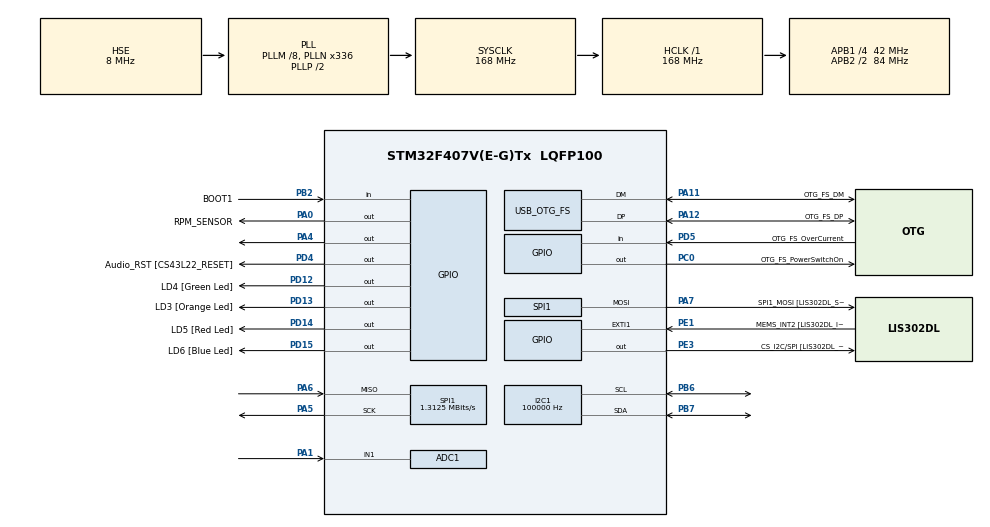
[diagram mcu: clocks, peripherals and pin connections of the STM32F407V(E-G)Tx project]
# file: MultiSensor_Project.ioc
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ADC1.Channel-2\#ChannelRegularConversion=ADC_CHANNEL_1
ADC1.ContinuousConvMode=ENABLE
ADC1.NbrOfConversionFlag=1
ADC1.Rank-2\#ChannelRegularConversion=1
ADC1.SamplingTime-2\#ChannelRegularConversion=ADC_SAMPLETIME_480CYCLES
ADC1.ScanConvMode=ENABLE
ADC1.master=1
I2C1.ClockSpeed=100000
I2C1.I2C_Mode=I2C_Fast
Mcu.Family=STM32F4
Mcu.Name=STM32F407V(E-G)Tx
Mcu.Package=LQFP100
NVIC.OTG_FS_IRQn=true\:0\:0\:false\:false\:true\:true\:true\:true
NVIC.PriorityGroup=NVIC_PRIORITYGROUP_0
NVIC.TIM2_IRQn=true\:0\:0\:false\:false\:true\:true\:true\:true
PA0-WKUP.GPIO_Label=RPM_SENSOR
PA0-WKUP.GPIO_ModeDefaultOutputPP=GPIO_MODE_OUTPUT_PP
PA0-WKUP.GPIO_PuPd=GPIO_PULLUP
PA0-WKUP.GPIO_Speed=GPIO_SPEED_FREQ_VERY_HIGH
PA0-WKUP.PinState=GPIO_PIN_RESET
PA0-WKUP.Signal=GPIO_Output
PA1.Signal=ADCx_IN1
PA10.GPIO_Label=OTG_FS_ID
PA10.GPIO_Mode=GPIO_MODE_AF_PP
PA10.GPIO_PuPd=GPIO_NOPULL
PA10.GPIO_Speed=GPIO_SPEED_FREQ_LOW
PA10.Signal=USB_OTG_FS_ID
PA11.GPIO_Label=OTG_FS_DM
PA11.GPIO_Mode=GPIO_MODE_AF_PP
PA11.GPIO_PuPd=GPIO_NOPULL
PA11.GPIO_Speed=GPIO_SPEED_FREQ_LOW
PA11.Mode=Device_Only
PA11.Signal=USB_OTG_FS_DM
PA12.GPIO_Label=OTG_FS_DP
PA12.GPIO_Mode=GPIO_MODE_AF_PP
PA12.GPIO_PuPd=GPIO_NOPULL
PA12.GPIO_Speed=GPIO_SPEED_FREQ_LOW
PA12.Mode=Device_Only
PA12.Signal=USB_OTG_FS_DP
PA13.GPIO_Label=SWDIO
PA13.Mode=Serial_Wire
PA13.Signal=SYS_JTMS-SWDIO
PA14.GPIO_Label=SWCLK
PA14.Mode=Serial_Wire
PA14.Signal=SYS_JTCK-SWCLK
PA4.Signal=GPIO_Output
PA5.Mode=Full_Duplex_Master
PA5.Signal=SPI1_SCK
PA6.Mode=Full_Duplex_Master
PA6.Signal=SPI1_MISO
PA7.GPIO_Label=SPI1_MOSI [LIS302DL_SDA/SDI/SDO]
PA7.GPIO_Mode=GPIO_MODE_AF_PP
PA7.GPIO_PuPd=GPIO_NOPULL
PA7.GPIO_Speed=GPIO_SPEED_FREQ_LOW
PA7.Mode=Full_Duplex_Master
PA7.Signal=SPI1_MOSI
PA9.GPIO_Label=VBUS_FS
PA9.GPIO_Mode=GPIO_MODE_INPUT
PA9.GPIO_PuPd=GPIO_NOPULL
PA9.Signal=USB_OTG_FS_VBUS
PB10.GPIO_Label=CLK_IN [MP45DT02_CLK]
PB10.GPIO_Mode=GPIO_MODE_AF_PP
PB10.GPIO_PuPd=GPIO_NOPULL
PB10.GPIO_Speed=GPIO_SPEED_FREQ_LOW
PB10.Signal=I2S2_CK
PB2.GPIO_Label=BOOT1
PB2.GPIO_Mode=GPIO_MODE_INPUT
PB2.GPIO_PuPd=GPIO_NOPULL
PB2.Signal=GPIO_Input
PB3.GPIO_Label=SWO
PB3.Signal=SYS_JTDO-SWO
PB6.Mode=I2C
PB6.Signal=I2C1_SCL
PB7.Mode=I2C
PB7.Signal=I2C1_SDA
PC0.GPIO_Label=OTG_FS_PowerSwitchOn
PC0.GPIO_PuPd=GPIO_NOPULL
PC0.GPIO_Speed=GPIO_SPEED_FREQ_LOW
PC0.PinState=GPIO_PIN_SET
PC0.Signal=GPIO_Output
PC10.GPIO_Label=I2S3_SCK [CS43L22_SCLK]
PC10.GPIO_Mode=GPIO_MODE_AF_PP
PC10.GPIO_PuPd=GPIO_NOPULL
PC10.GPIO_Speed=GPIO_SPEED_FREQ_LOW
PC10.Signal=I2S3_CK
PC12.GPIO_Label=I2S3_SD [CS43L22_SDIN]
PC12.GPIO_Mode=GPIO_MODE_AF_PP
PC12.GPIO_PuPd=GPIO_NOPULL
PC12.GPIO_Speed=GPIO_SPEED_FREQ_LOW
PC12.Signal=I2S3_SD
PC14-OSC32_IN.GPIO_Label=PC14-OSC32_IN
PC14-OSC32_IN.Mode=LSE-External-Oscillator
PC14-OSC32_IN.Signal=RCC_OSC32_IN
PC15-OSC32_OUT.GPIO_Label=PC15-OSC32_OUT
PC15-OSC32_OUT.Mode=LSE-External-Oscillator
PC15-OSC32_OUT.Signal=RCC_OSC32_OUT
PC3.GPIO_Label=PDM_OUT [MP45DT02_DOUT]
PC3.GPIO_Mode=GPIO_MODE_AF_PP
PC3.GPIO_PuPd=GPIO_NOPULL
PC3.GPIO_Speed=GPIO_SPEED_FREQ_LOW
PC3.Signal=I2S2_SD
PC7.GPIO_Label=I2S3_MCK [CS43L22_MCLK]
PC7.GPIO_Mode=GPIO_MODE_AF_PP
PC7.GPIO_PuPd=GPIO_NOPULL
PC7.GPIO_Speed=GPIO_SPEED_FREQ_LOW
PC7.Signal=I2S3_MCK
PD12.GPIO_Label=LD4 [Green Led]
PD12.GPIO_PuPd=GPIO_NOPULL
PD12.GPIO_Speed=GPIO_SPEED_FREQ_LOW
PD12.Signal=GPIO_Output
PD13.GPIO_Label=LD3 [Orange Led]
PD13.GPIO_PuPd=GPIO_NOPULL
PD13.GPIO_Speed=GPIO_SPEED_FREQ_LOW
PD13.Signal=GPIO_Output
PD14.GPIO_Label=LD5 [Red Led]
PD14.GPIO_PuPd=GPIO_NOPULL
PD14.GPIO_Speed=GPIO_SPEED_FREQ_LOW
PD14.Signal=GPIO_Output
PD15.GPIO_Label=LD6 [Blue Led]
PD15.GPIO_PuPd=GPIO_NOPULL
PD15.GPIO_Speed=GPIO_SPEED_FREQ_LOW
PD15.Signal=GPIO_Output
PD4.GPIO_Label=Audio_RST [CS43L22_RESET]
PD4.GPIO_PuPd=GPIO_NOPULL
PD4.GPIO_Speed=GPIO_SPEED_FREQ_LOW
PD4.Signal=GPIO_Output
PD5.GPIO_Label=OTG_FS_OverCurrent
PD5.GPIO_Mode=GPIO_MODE_INPUT
PD5.GPIO_PuPd=GPIO_NOPULL
PD5.Signal=GPIO_Input
PE1.GPIO_Label=MEMS_INT2 [LIS302DL_INT2]
PE1.GPIO_ModeDefaultEXTI=GPIO_MODE_EVT_RISING
PE1.GPIO_PuPd=GPIO_NOPULL
PE1.Signal=GPXTI1
PE3.GPIO_Label=CS_I2C/SPI [LIS302DL_CS_I2C/SPI]
PE3.GPIO_PuPd=GPIO_NOPULL
PE3.GPIO_Speed=GPIO_SPEED_FREQ_LOW
PE3.Signal=GPIO_Output
PH0-OSC_IN.GPIO_Label=PH0-OSC_IN
PH0-OSC_IN.Mode=HSE-External-Oscillator
PH0-OSC_IN.Signal=RCC_OSC_IN
PH1-OSC_OUT.GPIO_Label=PH1-OSC_OUT
PH1-OSC_OUT.Mode=HSE-External-Oscillator
PH1-OSC_OUT.Signal=RCC_OSC_OUT
ProjectManager.HeapSize=0x200
ProjectManager.StackSize=0x400
ProjectManager.TargetToolchain=STM32CubeIDE
RCC.48MHZClocksFreq_Value=48000000
RCC.AHBFreq_Value=168000000
RCC.APB1CLKDivider=RCC_HCLK_DIV4
RCC.APB1Freq_Value=42000000
RCC.APB1TimFreq_Value=84000000
RCC.APB2CLKDivider=RCC_HCLK_DIV2
RCC.APB2Freq_Value=84000000
RCC.APB2TimFreq_Value=168000000
RCC.CortexFreq_Value=168000000
RCC.HCLKFreq_Value=168000000
RCC.HSE_VALUE=8000000
RCC.HSI_VALUE=16000000
RCC.PLLM=8
RCC.PLLN=336
RCC.PLLQ=7
RCC.SYSCLKFreq_VALUE=168000000
RCC.SYSCLKSource=RCC_SYSCLKSOURCE_PLLCLK
RCC.VCOOutputFreq_Value=336000000
SH.ADCx_IN1.0=ADC1_IN1,IN1
SPI1.BaudRatePrescaler=SPI_BAUDRATEPRESCALER_64
SPI1.CalculateBaudRate=1.3125 MBits/s
SPI1.Direction=SPI_DIRECTION_2LINES
SPI1.Mode=SPI_MODE_MASTER
SPI1.VirtualType=VM_MASTER
TIM2.AutoReloadPreload=TIM_AUTORELOAD_PRELOAD_ENABLE
TIM2.Period=1000-1
TIM2.Prescaler=84-1
TIM2.TIM_MasterOutputTrigger=TIM_TRGO_UPDATE
TIM2.TIM_MasterSlaveMode=TIM_MASTERSLAVEMODE_ENABLE
USB_DEVICE.CLASS_NAME_FS=CDC
USB_DEVICE.VirtualMode-CDC_FS=Cdc
USB_DEVICE.VirtualModeFS=Cdc_FS
USB_OTG_FS.VirtualMode=Device_Only
VP_TIM2_VS_ClockSourceINT.Mode=Internal
VP_USB_DEVICE_VS_USB_DEVICE_CDC_FS.Mode=CDC_FS
board=STM32F407G-DISC1

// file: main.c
/* USER CODE BEGIN Header */
/**
 ******************************************************************************
 * @file           : main.c
 * @brief          : Main program body
 ******************************************************************************
 */
/* USER CODE END Header */
#include "main.h"
#include "adc.h"
#include "i2c.h"
#include "spi.h"
#include "tim.h"
#include "usb_device.h"
#include "gpio.h"
#include "usbd_cdc_if.h"
#include <stdio.h>
#include <string.h>

/* USER CODE BEGIN PV */
volatile uint8_t dataReady = 0;
uint8_t UserTxBufferFS[128];  // USB gönderme buffer'ı
/* USER CODE END PV */

void SystemClock_Config(void);
/* USER CODE BEGIN PFP */
void Send_Data_Over_USB(void);
/* USER CODE END PFP */

/* USER CODE BEGIN 0 */

/* USB üzerinden veri gönderme fonksiyonu */

void Send_Data_Over_USB(void)
{
    uint8_t buffer[128];
    int len;

    // İvmeölçer 1 verisi
    len = sprintf((char*)buffer, "Sensor1: X=%d Y=%d Z=%d\r\n",
            (int)sensorData.accel1X,
            (int)sensorData.accel1Y,
            (int)sensorData.accel1Z);
    CDC_Transmit_FS(buffer, len);
    HAL_Delay(10);

    // İvmeölçer 2 verisi
    len = sprintf((char*)buffer, "Sensor2: X=%d Y=%d Z=%d\r\n",
            (int)sensorData.accel2X,
            (int)sensorData.accel2Y,
            (int)sensorData.accel2Z);
    CDC_Transmit_FS(buffer, len);
    HAL_Delay(10);

    // Basınç ve sıcaklık verisi
    len = sprintf((char*)buffer, "Pressure=%.2f Temperature=%.2f\r\n",
            sensorData.pressure,
            sensorData.temperature);
    CDC_Transmit_FS(buffer, len);
    HAL_Delay(10);
}

/* USER CODE END 0 */

int main(void)
{

  /* MCU Configuration--------------------------------------------------------*/

  /* Reset of all peripherals, Initializes the Flash interface and the Systick. */
  HAL_Init();

  /* Configure the system clock */
  SystemClock_Config();

  /* Initialize all configured peripherals */
  MX_GPIO_Init();
  MX_I2C1_Init();
  MX_SPI1_Init();
  MX_ADC1_Init();
  MX_TIM2_Init();
  MX_USB_DEVICE_Init();
  /* USER CODE BEGIN 2 */
   // Timer2 başlat
   HAL_TIM_Base_Start(&htim2);

   // Tüm sensörleri başlat
   Init_All_Sensors();

  /* USER CODE END 2 */

  /* Infinite loop */
  /* USER CODE BEGIN WHILE */
   while (1)
   {
       // Tüm sensörlerden veri oku
       Read_All_Sensors();

       // USB üzerinden veri gönder
       Send_Data_Over_USB();

       // LED'i toggle et (veri gönderildiğini göstermek için)
       HAL_GPIO_TogglePin(LD4_GPIO_Port, LD4_Pin);

       // Gecikme (100ms - sensör okuma hızı)
       HAL_Delay(100);

    /* USER CODE END WHILE */

   }
}

void SystemClock_Config(void)
{
  RCC_OscInitTypeDef RCC_OscInitStruct = {0};
  RCC_ClkInitTypeDef RCC_ClkInitStruct = {0};

  /** Configure the main internal regulator output voltage
  */
  __HAL_RCC_PWR_CLK_ENABLE();
  __HAL_PWR_VOLTAGESCALING_CONFIG(PWR_REGULATOR_VOLTAGE_SCALE1);

  /** Initializes the RCC Oscillators according to the specified parameters
  * in the RCC_OscInitTypeDef structure.
  */
  RCC_OscInitStruct.OscillatorType = RCC_OSCILLATORTYPE_HSE;
  RCC_OscInitStruct.HSEState = RCC_HSE_ON;
  RCC_OscInitStruct.PLL.PLLState = RCC_PLL_ON;
  RCC_OscInitStruct.PLL.PLLSource = RCC_PLLSOURCE_HSE;
  RCC_OscInitStruct.PLL.PLLM = 8;
  RCC_OscInitStruct.PLL.PLLN = 336;
  RCC_OscInitStruct.PLL.PLLP = RCC_PLLP_DIV2;
  RCC_OscInitStruct.PLL.PLLQ = 7;
  if (HAL_RCC_OscConfig(&RCC_OscInitStruct) != HAL_OK)
  {
    Error_Handler();
  }

  /** Initializes the CPU, AHB and APB buses clocks
  */
  RCC_ClkInitStruct.ClockType = RCC_CLOCKTYPE_HCLK|RCC_CLOCKTYPE_SYSCLK
                              |RCC_CLOCKTYPE_PCLK1|RCC_CLOCKTYPE_PCLK2;
  RCC_ClkInitStruct.SYSCLKSource = RCC_SYSCLKSOURCE_PLLCLK;
  RCC_ClkInitStruct.AHBCLKDivider = RCC_SYSCLK_DIV1;
  RCC_ClkInitStruct.APB1CLKDivider = RCC_HCLK_DIV4;
  RCC_ClkInitStruct.APB2CLKDivider = RCC_HCLK_DIV2;

  if (HAL_RCC_ClockConfig(&RCC_ClkInitStruct, FLASH_LATENCY_5) != HAL_OK)
  {
    Error_Handler();
  }
}

void Error_Handler(void)
{
  __disable_irq();
  while (1)
  {
  }
}
